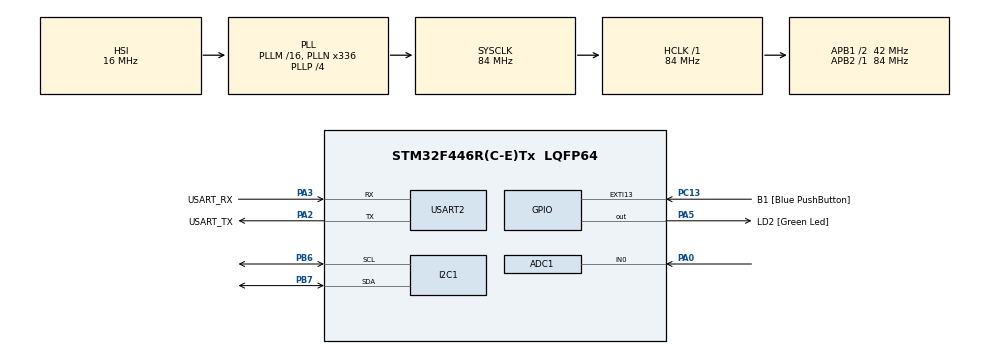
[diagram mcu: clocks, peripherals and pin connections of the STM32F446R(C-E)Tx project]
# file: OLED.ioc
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ADC1.Channel-1\#ChannelRegularConversion=ADC_CHANNEL_0
ADC1.NbrOfConversionFlag=1
ADC1.Rank-1\#ChannelRegularConversion=1
ADC1.SamplingTime-1\#ChannelRegularConversion=ADC_SAMPLETIME_3CYCLES
ADC1.master=1
FREERTOS.Tasks01=defaultTask,24,128,StartDefaultTask,Default,NULL,Dynamic,NULL,NULL;potentiometerTa,24,128,StartPTask,Default,NULL,Dynamic,NULL,NULL
I2C1.I2C_Mode=I2C_Fast
Mcu.Family=STM32F4
Mcu.Name=STM32F446R(C-E)Tx
Mcu.Package=LQFP64
NVIC.PriorityGroup=NVIC_PRIORITYGROUP_4
NVIC.TIM6_DAC_IRQn=true\:15\:0\:false\:false\:true\:false\:false\:true\:true
NVIC.TimeBase=TIM6_DAC_IRQn
NVIC.TimeBaseIP=TIM6
PA0-WKUP.Signal=ADCx_IN0
PA13.GPIO_Label=TMS
PA13.Mode=Serial_Wire
PA13.Signal=SYS_JTMS-SWDIO
PA14.GPIO_Label=TCK
PA14.Mode=Serial_Wire
PA14.Signal=SYS_JTCK-SWCLK
PA2.GPIO_Label=USART_TX
PA2.Mode=Asynchronous
PA2.Signal=USART2_TX
PA3.GPIO_Label=USART_RX
PA3.Mode=Asynchronous
PA3.Signal=USART2_RX
PA5.GPIO_Label=LD2 [Green Led]
PA5.Signal=GPIO_Output
PB3.GPIO_Label=SWO
PB3.Signal=SYS_JTDO-SWO
PB6.Mode=I2C
PB6.Signal=I2C1_SCL
PB7.Mode=I2C
PB7.Signal=I2C1_SDA
PC13.GPIO_Label=B1 [Blue PushButton]
PC13.GPIO_ModeDefaultEXTI=GPIO_MODE_IT_FALLING
PC13.Signal=GPXTI13
PC14-OSC32_IN.Mode=LSE-External-Oscillator
PC14-OSC32_IN.Signal=RCC_OSC32_IN
PC15-OSC32_OUT.Mode=LSE-External-Oscillator
PC15-OSC32_OUT.Signal=RCC_OSC32_OUT
PH0-OSC_IN.Mode=HSE-External-Oscillator
PH0-OSC_IN.Signal=RCC_OSC_IN
PH1-OSC_OUT.Mode=HSE-External-Oscillator
PH1-OSC_OUT.Signal=RCC_OSC_OUT
ProjectManager.HeapSize=0x200
ProjectManager.StackSize=0x400
ProjectManager.TargetToolchain=STM32CubeIDE
RCC.48MHZClocksFreq_Value=84000000
RCC.AHBFreq_Value=84000000
RCC.APB1CLKDivider=RCC_HCLK_DIV2
RCC.APB1Freq_Value=42000000
RCC.APB1TimFreq_Value=84000000
RCC.APB2Freq_Value=84000000
RCC.APB2TimFreq_Value=84000000
RCC.CortexFreq_Value=84000000
RCC.FLatency-AdvancedSettings=FLASH_LATENCY_2
RCC.HCLKFreq_Value=84000000
RCC.HSE_VALUE=8000000
RCC.HSI_VALUE=16000000
RCC.PLLN=336
RCC.PLLP=RCC_PLLP_DIV4
RCC.SYSCLKFreq_VALUE=84000000
RCC.SYSCLKSource=RCC_SYSCLKSOURCE_PLLCLK
RCC.USBFreq_Value=168000000
RCC.VCOOutputFreq_Value=336000000
SH.ADCx_IN0.0=ADC1_IN0,IN0
USART2.VirtualMode=VM_ASYNC
VP_FREERTOS_VS_CMSIS_V2.Mode=CMSIS_V2
VP_SYS_VS_tim6.Mode=TIM6
board=NUCLEO-F446RE

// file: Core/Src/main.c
/* USER CODE BEGIN Header */
/**
  ******************************************************************************
  * @file           : main.c
  * @brief          : Main program body
  ******************************************************************************
  * @attention
  *
  * Copyright (c) 2024 STMicroelectronics.
  * All rights reserved.
  *
  * This software is licensed under terms that can be found in the LICENSE file
  * in the root directory of this software component.
  * If no LICENSE file comes with this software, it is provided AS-IS.
  *
  ******************************************************************************
  */
/* USER CODE END Header */
#include "main.h"
#include "cmsis_os.h"

/* USER CODE BEGIN Includes */
#include "fonts.h"
#include "ssd1306.h"
#include <stdio.h>

/* USER CODE END Includes */

ADC_HandleTypeDef hadc1;

I2C_HandleTypeDef hi2c1;

UART_HandleTypeDef huart2;

/* Definitions for defaultTask */
osThreadId_t defaultTaskHandle;
const osThreadAttr_t defaultTask_attributes = {
  .name = "defaultTask",
  .stack_size = 128 * 4,
  .priority = (osPriority_t) osPriorityNormal,
};
/* Definitions for potentiometerTa */
osThreadId_t potentiometerTaHandle;
const osThreadAttr_t potentiometerTa_attributes = {
  .name = "potentiometerTa",
  .stack_size = 128 * 4,
  .priority = (osPriority_t) osPriorityNormal,
};

void SystemClock_Config(void);
static void MX_GPIO_Init(void);
static void MX_USART2_UART_Init(void);
static void MX_I2C1_Init(void);
static void MX_ADC1_Init(void);
void StartDefaultTask(void *argument);
void StartPTask(void *argument);

/* USER CODE BEGIN 0 */

uint32_t sensorValue = 0;
float fvoltage = 0;
char msg[100];

/* USER CODE END 0 */

int main(void)
{

  /* MCU Configuration--------------------------------------------------------*/

  /* Reset of all peripherals, Initializes the Flash interface and the Systick. */
  HAL_Init();

  /* Configure the system clock */
  SystemClock_Config();

  /* Initialize all configured peripherals */
  MX_GPIO_Init();
  MX_USART2_UART_Init();
  MX_I2C1_Init();
  MX_ADC1_Init();
  /* USER CODE BEGIN 2 */

  SSD1306_Init();
//  char snum[5];

  SSD1306_GotoXY (0,0);
  SSD1306_Puts ("NIZAR", &Font_11x18, 1);
  SSD1306_GotoXY (0, 30);
  SSD1306_Puts ("MOHIDEEN", &Font_11x18, 1);
  SSD1306_UpdateScreen();
  HAL_Delay (1000);

  SSD1306_ScrollRight(0,7);
  HAL_Delay(3000);
  SSD1306_ScrollLeft(0,7);
  HAL_Delay(3000);
  SSD1306_Stopscroll();
  SSD1306_Clear();
  SSD1306_GotoXY (35,0);
  SSD1306_Puts ("VOLTAGE", &Font_11x18, 1);

//  char msg[10];

  /* USER CODE END 2 */

  /* Init scheduler */
  osKernelInitialize();

  /* Create the thread(s) */
  /* creation of defaultTask */
  defaultTaskHandle = osThreadNew(StartDefaultTask, NULL, &defaultTask_attributes);

  /* creation of potentiometerTa */
  potentiometerTaHandle = osThreadNew(StartPTask, NULL, &potentiometerTa_attributes);

  /* Start scheduler */
  osKernelStart();

  /* We should never get here as control is now taken by the scheduler */
  /* Infinite loop */
  /* USER CODE BEGIN WHILE */
//  while (1)
//  {
//	  for ( int x = 50; x <= 10000 ; x++ )
//	  	{
//	  		itoa(x, snum, 10);
////		  	sprintf(msg, "%f\r\n", fvoltage);
//
//	  		SSD1306_GotoXY (0, 30);
//	  		SSD1306_Puts ("             ", &Font_16x26, 1);
//	  		SSD1306_UpdateScreen();
//	  		if(x < 10) {
//	  			SSD1306_GotoXY (53, 30);  // 1 DIGIT
//	  		}
//	  		else if (x < 100 ) {
//	  			SSD1306_GotoXY (45, 30);  // 2 DIGITS
//	  		}
//	  		else if (x < 1000 ) {
//	  			SSD1306_GotoXY (37, 30);  // 3 DIGITS
//	  		}
//	  		else {
//	  			SSD1306_GotoXY (30, 30);  // 4 DIGIS
//	  		}
//	  		SSD1306_Puts (snum, &Font_16x26, 1);
//	  		//SSD1306_Puts ("123", &Font_16x26, 1);
//	  		SSD1306_UpdateScreen();
//	  		HAL_Delay (500);
//	  }
//  }

    /* USER CODE END WHILE */

}

void SystemClock_Config(void)
{
  RCC_OscInitTypeDef RCC_OscInitStruct = {0};
  RCC_ClkInitTypeDef RCC_ClkInitStruct = {0};

  /** Configure the main internal regulator output voltage
  */
  __HAL_RCC_PWR_CLK_ENABLE();
  __HAL_PWR_VOLTAGESCALING_CONFIG(PWR_REGULATOR_VOLTAGE_SCALE3);

  /** Initializes the RCC Oscillators according to the specified parameters
  * in the RCC_OscInitTypeDef structure.
  */
  RCC_OscInitStruct.OscillatorType = RCC_OSCILLATORTYPE_HSI;
  RCC_OscInitStruct.HSIState = RCC_HSI_ON;
  RCC_OscInitStruct.HSICalibrationValue = RCC_HSICALIBRATION_DEFAULT;
  RCC_OscInitStruct.PLL.PLLState = RCC_PLL_ON;
  RCC_OscInitStruct.PLL.PLLSource = RCC_PLLSOURCE_HSI;
  RCC_OscInitStruct.PLL.PLLM = 16;
  RCC_OscInitStruct.PLL.PLLN = 336;
  RCC_OscInitStruct.PLL.PLLP = RCC_PLLP_DIV4;
  RCC_OscInitStruct.PLL.PLLQ = 2;
  RCC_OscInitStruct.PLL.PLLR = 2;
  if (HAL_RCC_OscConfig(&RCC_OscInitStruct) != HAL_OK)
  {
    Error_Handler();
  }

  /** Initializes the CPU, AHB and APB buses clocks
  */
  RCC_ClkInitStruct.ClockType = RCC_CLOCKTYPE_HCLK|RCC_CLOCKTYPE_SYSCLK
                              |RCC_CLOCKTYPE_PCLK1|RCC_CLOCKTYPE_PCLK2;
  RCC_ClkInitStruct.SYSCLKSource = RCC_SYSCLKSOURCE_PLLCLK;
  RCC_ClkInitStruct.AHBCLKDivider = RCC_SYSCLK_DIV1;
  RCC_ClkInitStruct.APB1CLKDivider = RCC_HCLK_DIV2;
  RCC_ClkInitStruct.APB2CLKDivider = RCC_HCLK_DIV1;

  if (HAL_RCC_ClockConfig(&RCC_ClkInitStruct, FLASH_LATENCY_2) != HAL_OK)
  {
    Error_Handler();
  }
}

static void MX_ADC1_Init(void)
{

  ADC_ChannelConfTypeDef sConfig = {0};

  /** Configure the global features of the ADC (Clock, Resolution, Data Alignment and number of conversion)
  */
  hadc1.Instance = ADC1;
  hadc1.Init.ClockPrescaler = ADC_CLOCK_SYNC_PCLK_DIV4;
  hadc1.Init.Resolution = ADC_RESOLUTION_12B;
  hadc1.Init.ScanConvMode = DISABLE;
  hadc1.Init.ContinuousConvMode = DISABLE;
  hadc1.Init.DiscontinuousConvMode = DISABLE;
  hadc1.Init.ExternalTrigConvEdge = ADC_EXTERNALTRIGCONVEDGE_NONE;
  hadc1.Init.ExternalTrigConv = ADC_SOFTWARE_START;
  hadc1.Init.DataAlign = ADC_DATAALIGN_RIGHT;
  hadc1.Init.NbrOfConversion = 1;
  hadc1.Init.DMAContinuousRequests = DISABLE;
  hadc1.Init.EOCSelection = ADC_EOC_SINGLE_CONV;
  if (HAL_ADC_Init(&hadc1) != HAL_OK)
  {
    Error_Handler();
  }

  /** Configure for the selected ADC regular channel its corresponding rank in the sequencer and its sample time.
  */
  sConfig.Channel = ADC_CHANNEL_0;
  sConfig.Rank = 1;
  sConfig.SamplingTime = ADC_SAMPLETIME_3CYCLES;
  if (HAL_ADC_ConfigChannel(&hadc1, &sConfig) != HAL_OK)
  {
    Error_Handler();
  }

}

static void MX_I2C1_Init(void)
{

  hi2c1.Instance = I2C1;
  hi2c1.Init.ClockSpeed = 400000;
  hi2c1.Init.DutyCycle = I2C_DUTYCYCLE_2;
  hi2c1.Init.OwnAddress1 = 0;
  hi2c1.Init.AddressingMode = I2C_ADDRESSINGMODE_7BIT;
  hi2c1.Init.DualAddressMode = I2C_DUALADDRESS_DISABLE;
  hi2c1.Init.OwnAddress2 = 0;
  hi2c1.Init.GeneralCallMode = I2C_GENERALCALL_DISABLE;
  hi2c1.Init.NoStretchMode = I2C_NOSTRETCH_DISABLE;
  if (HAL_I2C_Init(&hi2c1) != HAL_OK)
  {
    Error_Handler();
  }

}

static void MX_USART2_UART_Init(void)
{

  huart2.Instance = USART2;
  huart2.Init.BaudRate = 115200;
  huart2.Init.WordLength = UART_WORDLENGTH_8B;
  huart2.Init.StopBits = UART_STOPBITS_1;
  huart2.Init.Parity = UART_PARITY_NONE;
  huart2.Init.Mode = UART_MODE_TX_RX;
  huart2.Init.HwFlowCtl = UART_HWCONTROL_NONE;
  huart2.Init.OverSampling = UART_OVERSAMPLING_16;
  if (HAL_UART_Init(&huart2) != HAL_OK)
  {
    Error_Handler();
  }

}

static void MX_GPIO_Init(void)
{
  GPIO_InitTypeDef GPIO_InitStruct = {0};

  /* GPIO Ports Clock Enable */
  __HAL_RCC_GPIOC_CLK_ENABLE();
  __HAL_RCC_GPIOH_CLK_ENABLE();
  __HAL_RCC_GPIOA_CLK_ENABLE();
  __HAL_RCC_GPIOB_CLK_ENABLE();

  /*Configure GPIO pin Output Level */
  HAL_GPIO_WritePin(LD2_GPIO_Port, LD2_Pin, GPIO_PIN_RESET);

  /*Configure GPIO pin : B1_Pin */
  GPIO_InitStruct.Pin = B1_Pin;
  GPIO_InitStruct.Mode = GPIO_MODE_IT_FALLING;
  GPIO_InitStruct.Pull = GPIO_NOPULL;
  HAL_GPIO_Init(B1_GPIO_Port, &GPIO_InitStruct);

  /*Configure GPIO pin : LD2_Pin */
  GPIO_InitStruct.Pin = LD2_Pin;
  GPIO_InitStruct.Mode = GPIO_MODE_OUTPUT_PP;
  GPIO_InitStruct.Pull = GPIO_NOPULL;
  GPIO_InitStruct.Speed = GPIO_SPEED_FREQ_LOW;
  HAL_GPIO_Init(LD2_GPIO_Port, &GPIO_InitStruct);

}

void StartDefaultTask(void *argument)
{
  /* USER CODE BEGIN 5 */
  /* Infinite loop */

  for(;;)
  {
//	  ftoa(fvoltage, msg, 2);
	  SSD1306_GotoXY (0, 30);

	  SSD1306_Puts (msg,  &Font_16x26, 1);
	  SSD1306_UpdateScreen();
  }
  /* USER CODE END 5 */
}

void StartPTask(void *argument)
{
  /* USER CODE BEGIN StartPTask */
  /* Infinite loop */
  for(;;)
  {
	  /*1. Start ADC */
	 HAL_ADC_Start(&hadc1);

	 /*2. Poll for conversion */
	 HAL_ADC_PollForConversion(&hadc1,1);

	 /*3. Get conversion */
	 sensorValue = HAL_ADC_GetValue(&hadc1);
	 fvoltage = (float)sensorValue * (3.3/4095.0);

	 sprintf(msg, "%.2f V", fvoltage);

	 HAL_UART_Transmit(&huart2, (uint8_t*)msg, strlen(msg), HAL_MAX_DELAY);
  }
  /* USER CODE END StartPTask */
}

void HAL_TIM_PeriodElapsedCallback(TIM_HandleTypeDef *htim)
{
  if (htim->Instance == TIM6) {
    HAL_IncTick();
  }
}

void Error_Handler(void)
{
  __disable_irq();
  while (1)
  {
  }
}
